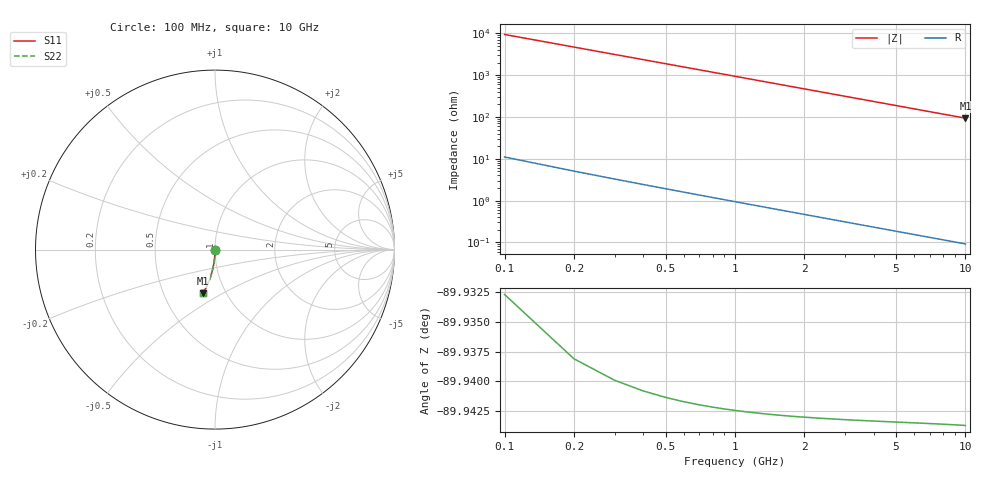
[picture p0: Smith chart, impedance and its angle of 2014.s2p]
# Hz S RI R 50.00
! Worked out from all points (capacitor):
!   100 points, 100 MHz to 10 GHz, reference 50 ohm
!   read as one part in shunt: C = 169 fF near 100 MHz
!   lowest |Z| = 93.7 ohm at 10 GHz (marker M1)
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1e8  1.86e-05 -0.0026  1 -0.00272  1 -0.00272  1.86e-05 -0.0026
2e8  -5.12e-06 -0.00521  0.9999 -0.00544  0.9999 -0.00544  -5.12e-06 -0.00521
3e8  -4.3e-05 -0.00781  0.9999 -0.00816  0.9999 -0.00816  -4.3e-05 -0.00781
4e8  -9.51e-05 -0.0104  0.9998 -0.0109  0.9998 -0.0109  -9.51e-05 -0.0104
5e8  -0.000161 -0.013  0.9998 -0.0136  0.9998 -0.0136  -0.000161 -0.013
6e8  -0.000242 -0.0156  0.9997 -0.0163  0.9997 -0.0163  -0.000242 -0.0156
7e8  -0.000336 -0.0182  0.9996 -0.019  0.9996 -0.019  -0.000336 -0.0182
8e8  -0.000445 -0.0208  0.9995 -0.0218  0.9995 -0.0218  -0.000445 -0.0208
9e8  -0.000568 -0.0234  0.9994 -0.0245  0.9994 -0.0245  -0.000568 -0.0234
1.1e9  -0.000856 -0.0286  0.9991 -0.0299  0.9991 -0.0299  -0.000856 -0.0286
1.4e9  -0.00139 -0.0364  0.9985 -0.038  0.9985 -0.038  -0.00139 -0.0364
1.8e9  -0.00231 -0.0468  0.9976 -0.0489  0.9976 -0.0489  -0.00231 -0.0468
2.1e9  -0.00314 -0.0545  0.9968 -0.057  0.9968 -0.057  -0.00314 -0.0545
2.5e9  -0.00445 -0.0648  0.9955 -0.0678  0.9955 -0.0678  -0.00445 -0.0648
2.9e9  -0.00597 -0.0751  0.994 -0.0785  0.994 -0.0785  -0.00597 -0.0751
3.4e9  -0.00819 -0.0878  0.9917 -0.0919  0.9917 -0.0919  -0.00819 -0.0878
4.2e9  -0.0124 -0.1081  0.9875 -0.113  0.9875 -0.113  -0.0124 -0.1081
5.1e9  -0.0182 -0.1305  0.9817 -0.1365  0.9817 -0.1365  -0.0182 -0.1305
5.9e9  -0.0243 -0.15  0.9756 -0.157  0.9756 -0.157  -0.0243 -0.15
6.7e9  -0.0311 -0.1692  0.9688 -0.1772  0.9688 -0.1772  -0.0311 -0.1692
8.4e9  -0.0481 -0.2085  0.9518 -0.2185  0.9518 -0.2185  -0.0481 -0.2085
1e10  -0.0668 -0.2434  0.933 -0.2553  0.933 -0.2553  -0.0668 -0.2434
